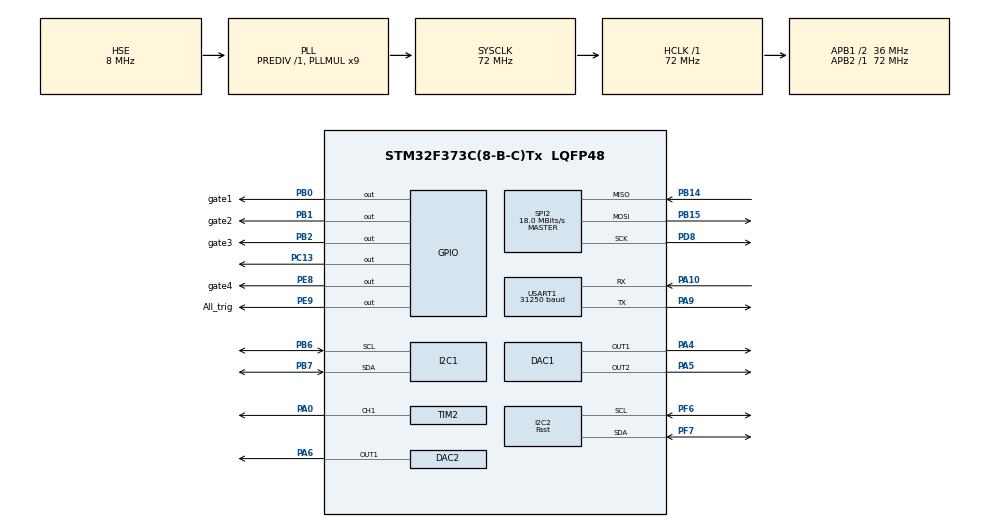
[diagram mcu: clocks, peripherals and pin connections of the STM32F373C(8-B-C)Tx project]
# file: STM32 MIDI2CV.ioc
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Dma.I2C1_TX.0.Direction=DMA_MEMORY_TO_PERIPH
Dma.I2C1_TX.0.Instance=DMA1_Channel6
Dma.I2C1_TX.0.MemDataAlignment=DMA_MDATAALIGN_BYTE
Dma.I2C1_TX.0.MemInc=DMA_MINC_ENABLE
Dma.I2C1_TX.0.Mode=DMA_NORMAL
Dma.I2C1_TX.0.PeriphDataAlignment=DMA_PDATAALIGN_BYTE
Dma.I2C1_TX.0.PeriphInc=DMA_PINC_DISABLE
Dma.I2C1_TX.0.Priority=DMA_PRIORITY_MEDIUM
Dma.Request0=I2C1_TX
I2C1.Timing=0x00201D2B
I2C2.I2C_Speed_Mode=I2C_Fast
I2C2.Timing=0x0010020A
Mcu.Family=STM32F3
Mcu.Name=STM32F373C(8-B-C)Tx
Mcu.Package=LQFP48
Mcu.UserConstants=periodas,0;daliklis,0;pulsas,0
NVIC.DMA1_Channel6_IRQn=true\:0\:0\:false\:false\:true\:false\:true\:true
NVIC.I2C1_EV_IRQn=true\:0\:0\:false\:false\:true\:true\:true\:true
NVIC.PriorityGroup=NVIC_PRIORITYGROUP_4
NVIC.SPI2_IRQn=true\:0\:0\:false\:false\:true\:true\:true\:true
NVIC.TIM13_IRQn=true\:0\:0\:false\:false\:true\:true\:true\:true
NVIC.TIM14_IRQn=true\:0\:0\:false\:false\:true\:true\:true\:true
NVIC.TIM7_IRQn=true\:0\:0\:false\:false\:true\:true\:true\:true
NVIC.USART1_IRQn=true\:0\:0\:false\:false\:true\:true\:true\:true
PA0.GPIO_PuPd=GPIO_PULLDOWN
PA0.Signal=S_TIM2_CH1_ETR
PA10.Mode=Asynchronous
PA10.Signal=USART1_RX
PA13.Mode=Trace_Asynchronous_SW
PA13.Signal=SYS_JTMS-SWDIO
PA14.Mode=Trace_Asynchronous_SW
PA14.Signal=SYS_JTCK-SWCLK
PA4.Signal=COMP_DAC11_group
PA5.Signal=COMP_DAC12_group
PA6.Signal=COMP_DAC21_group
PA9.Mode=Asynchronous
PA9.Signal=USART1_TX
PB0.GPIO_Label=gate1
PB0.PinState=GPIO_PIN_RESET
PB0.Signal=GPIO_Output
PB1.GPIO_Label=gate2
PB1.Signal=GPIO_Output
PB14.Mode=Full_Duplex_Master
PB14.Signal=SPI2_MISO
PB15.Mode=Full_Duplex_Master
PB15.Signal=SPI2_MOSI
PB2.GPIO_Label=gate3
PB2.Signal=GPIO_Output
PB3.Mode=Trace_Asynchronous_SW
PB3.Signal=SYS_JTDO-TRACESWO
PB6.Mode=I2C
PB6.Signal=I2C1_SCL
PB7.Mode=I2C
PB7.Signal=I2C1_SDA
PC13.PinState=GPIO_PIN_RESET
PC13.Signal=GPIO_Output
PD8.Mode=Full_Duplex_Master
PD8.Signal=SPI2_SCK
PE8.GPIO_Label=gate4
PE8.Signal=GPIO_Output
PE9.GPIO_Label=All_trig
PE9.Signal=GPIO_Output
PF0-OSC_IN.Mode=HSE-External-Oscillator
PF0-OSC_IN.Signal=RCC_OSC_IN
PF1-OSC_OUT.Mode=HSE-External-Oscillator
PF1-OSC_OUT.Signal=RCC_OSC_OUT
PF6.Mode=I2C
PF6.Signal=I2C2_SCL
PF7.Mode=I2C
PF7.Signal=I2C2_SDA
ProjectManager.HeapSize=0x200
ProjectManager.StackSize=0x400
ProjectManager.TargetToolchain=STM32CubeIDE
RCC.AHBFreq_Value=72000000
RCC.APB1CLKDivider=RCC_HCLK_DIV2
RCC.APB1Freq_Value=36000000
RCC.APB1TimFreq_Value=72000000
RCC.APB2Freq_Value=72000000
RCC.APB2TimFreq_Value=72000000
RCC.CortexFreq_Value=72000000
RCC.HCLKFreq_Value=72000000
RCC.HSE_VALUE=8000000
RCC.HSI_VALUE=8000000
RCC.LSE_VALUE=32768
RCC.PLLMUL=RCC_PLL_MUL9
RCC.PLLSourceVirtual=RCC_PLLSOURCE_HSE
RCC.SYSCLKFreq_VALUE=72000000
RCC.SYSCLKSource=RCC_SYSCLKSOURCE_PLLCLK
RCC.USBFreq_Value=72000000
RCC.Usart1ClockSelection=RCC_USART1CLKSOURCE_SYSCLK
SH.COMP_DAC11_group.0=DAC1_OUT1,DAC_OUT1
SH.COMP_DAC12_group.0=DAC1_OUT2,Enable_DAC_OUT2
SH.COMP_DAC21_group.0=DAC2_OUT1,DAC_OUT1
SH.S_TIM2_CH1_ETR.0=TIM2_CH1,PWM Generation1 CH1
SPI2.CLKPolarity=SPI_POLARITY_HIGH
SPI2.CalculateBaudRate=18.0 MBits/s
SPI2.DataSize=SPI_DATASIZE_16BIT
SPI2.Direction=SPI_DIRECTION_2LINES
SPI2.Mode=SPI_MODE_MASTER
SPI2.VirtualType=VM_MASTER
TIM13.Period=0
TIM13.Prescaler=0
TIM14.Period=0
TIM2.Channel-PWM\ Generation1\ CH1=TIM_CHANNEL_1
TIM2.Period=0
TIM2.Prescaler=0
TIM2.Pulse-PWM\ Generation1\ CH1=0
TIM7.Period=1
TIM7.Prescaler=7199
USART1.BaudRate=31250
USART1.Mode=MODE_RX
USART1.VirtualMode-Asynchronous=VM_ASYNC
VP_TIM13_VS_ClockSourceINT.Mode=Enable_Timer
VP_TIM14_VS_ClockSourceINT.Mode=Enable_Timer
VP_TIM7_VS_ClockSourceINT.Mode=Enable_Timer
board=custom

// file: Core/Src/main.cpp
/* USER CODE BEGIN Header */
/**
TIM7 - kontroliuoja ADSR
TIM7 -
**/
/* USER CODE END Header */
#include "main.h"

/* USER CODE BEGIN Includes */
#include <stdio.h>
#include <math.h>
#include "MIDI.h"
#include "MidiHandlers.h"
#include "mcp4728_mod.h"
#include "ssd1306.h"
#include "ssd1306_fonts.h"
#include <adsr.h>
#include "lookup_t.h"
#include "midi2freq.h"
#include "lfo.h"
/* USER CODE END Includes */

/* USER CODE BEGIN PTD */

#define X 0.25 // santykis
#define NUM_ENVELOPES 4

// Define the MIDI CC numbers for the ADSR parameters
#define ATTACK_CC 74     // Brightness or Attack CC number
#define DECAY_CC 71      // Resonance or Decay CC number
#define SUSTAIN_CC 22    // Decay Time or Sustain level CC number
#define RELEASE_CC 75    // Release Time CC number
#define AMPLITUDE_CC 12   // Volume or Amplitude CC number
#define MAX_MIDI_CHANNELS 2
//#define DMA_RX_BUFFER_SIZE 256

//#define SystemCoreClock 72000000

/* USER CODE END PTD */

DAC_HandleTypeDef hdac1;
DAC_HandleTypeDef hdac2;

I2C_HandleTypeDef hi2c1;
I2C_HandleTypeDef hi2c2;
DMA_HandleTypeDef hdma_i2c1_tx;

SPI_HandleTypeDef hspi2;

TIM_HandleTypeDef htim2;
TIM_HandleTypeDef htim7;
TIM_HandleTypeDef htim13;
TIM_HandleTypeDef htim14;

UART_HandleTypeDef huart1;

/* USER CODE BEGIN PV */

//uint8_t dma_rx_buffer[DMA_RX_BUFFER_SIZE];
//uint8_t dma_rx_data[DMA_RX_BUFFER_SIZE];
//volatile uint16_t dma_rx_index = 0;
// volatile bool update_adsr_flag = false;

/* Midi kintamieji */
/* 4 balsai */
bool first_note_active = false;
bool second_note_active = false;
bool third_note_active = false;
bool fourth_note_active = false;
uint32_t pitch1_CV;
uint32_t pitch2_CV;
uint32_t pitch3_CV;
uint32_t pitch4_CV;
uint8_t first_note;
uint8_t second_note;
uint8_t third_note;
uint8_t fourth_note;
/*  */

uint32_t ramp_counter = 0;
uint32_t count = 0;
uint16_t minFrequency = 100;   // Minimum frequency in Hz
uint16_t maxFrequency = 1000;  // Maximum frequency in Hz
uint32_t new_period = 0;
uint32_t dac_value;

extern ADSR_t adsr;
float env1;
ADSR_t envelopes[NUM_ENVELOPES]; // Array to hold the ADSR envelopes

// midi natos pagal kanalus kintamieji
bool note_active[MAX_MIDI_CHANNELS] = {false};
uint32_t pitch_CV[MAX_MIDI_CHANNELS];
uint32_t velo_CV[MAX_MIDI_CHANNELS];
uint8_t current_note[MAX_MIDI_CHANNELS];

/* USER CODE END PV */

void SystemClock_Config(void);
static void MX_GPIO_Init(void);
static void MX_DMA_Init(void);
static void MX_USART1_UART_Init(void);
static void MX_DAC1_Init(void);
static void MX_DAC2_Init(void);
static void MX_SPI2_Init(void);
static void MX_I2C1_Init(void);
static void MX_I2C2_Init(void);
static void MX_TIM7_Init(void);
static void MX_TIM13_Init(void);
static void MX_TIM2_Init(void);
static void MX_TIM14_Init(void);

/* USER CODE BEGIN 0 */
int _write(int file, char *ptr, int len)
 {
	 int DataIdx;
	 for (DataIdx = 0; DataIdx < len; DataIdx++)
	 {
		 ITM_SendChar(*ptr++);
	 }
	 return len;
 }

//typedef struct {
//    byte attack_value;
//    byte decay_value;
//    byte sustain_value;
//    byte release_value;
//    byte amplitude_value;
//} ADSR_CC_Values;

// Array to store the last known MIDI CC values for each envelope
//ADSR_CC_Values cc_values[NUM_ENVELOPES];

/* Initialize MidiInterface object */
MidiInterface Port;

void Handle_NoteOn(uint8_t status, uint8_t data1, uint8_t data2);
void Handle_NoteOff(uint8_t channel, uint8_t note, uint8_t velocity);
void Handle_CC(byte channel, byte number, byte value);
void Handle_CC16(byte channel, byte number, byte value);
void ADSR_HandleCC(byte channel, byte number, byte value);

// Add new variables for third and fourth notes

void Handle_NoteOn(uint8_t channel, uint8_t note, uint8_t velocity) {
    uint32_t pitch_CV = (uint32_t)((note * 0.0833333333 * X) / (3.3 / 4095));  // Calculate pitch CV from MIDI note
    uint32_t velo_CV = (uint32_t)((velocity / 127.0) * 4095);
    ChannelConfig config;
    ChannelConfig_2 config2;

    if (!first_note_active) {
        pitch1_CV = pitch_CV;

        ADSR_SetGateSignal(&envelopes[0], 1);
        config.val[0] = pitch1_CV; // 12-bit DAC value for channel A
        config2.val[0] = velo_CV;  // 12-bit DAC value for channel B
        DACx60SW(&hi2c1, config, 0);
        DACx61SW(&hi2c1, config2, 0);

        HAL_GPIO_WritePin(GPIOB, gate1_Pin, GPIO_PIN_SET);  // Indicate first note is on via gate3_Pin
        first_note_active = true;  // First note is now active
        first_note = note;  // Store the note value
    } else if (!second_note_active) {
        pitch2_CV = pitch_CV;

        ADSR_SetGateSignal(&envelopes[1], 1);
        config.val[1] = pitch2_CV; // 12-bit DAC value for channel A
        config2.val[1] = velo_CV;  // 12-bit DAC value for channel B
        DACx60SW(&hi2c1, config, 1);
        DACx61SW(&hi2c1, config2, 1);

        HAL_GPIO_WritePin(GPIOB, gate2_Pin, GPIO_PIN_SET);  // Indicate second note is on via gate2_Pin
        second_note_active = true;  // Second note is now active
        second_note = note;  // Store the note value
    } else if (!third_note_active) {
        pitch3_CV = pitch_CV;

        ADSR_SetGateSignal(&envelopes[2], 1);
        config.val[2] = pitch3_CV; // 12-bit DAC value for channel A
        config2.val[2] = velo_CV;  // 12-bit DAC value for channel B
        DACx60SW(&hi2c1, config, 2);
        DACx61SW(&hi2c1, config2, 2);

        HAL_GPIO_WritePin(GPIOB, gate3_Pin, GPIO_PIN_SET);  // Indicate third note is on via gate1_Pin
        third_note_active = true;  // Third note is now active
        third_note = note;  // Store the note value
    } else if (!fourth_note_active) {
        pitch4_CV = pitch_CV;

        ADSR_SetGateSignal(&envelopes[3], 1);
        config.val[3] = pitch4_CV; // 12-bit DAC value for channel A
        config2.val[3] = velo_CV;  // 12-bit DAC value for channel B
        DACx60SW(&hi2c1, config, 3);
        DACx61SW(&hi2c1, config2, 3);

        HAL_GPIO_WritePin(GPIOE, gate4_Pin, GPIO_PIN_SET);  // Indicate fourth note is on via gate4_Pin
        fourth_note_active = true;  // Fourth note is now active
        fourth_note = note;  // Store the note value
    }
}

void Handle_NoteOff(uint8_t channel, uint8_t note, uint8_t velocity) {
    if (first_note_active && note == first_note) {
        ADSR_SetGateSignal(&envelopes[0], 0);

        HAL_GPIO_WritePin(GPIOB, gate1_Pin, GPIO_PIN_RESET);  // PB2 Turn off gate for first note
        first_note_active = false;  // First note is no longer active
    } else if (second_note_active && note == second_note) {
        ADSR_SetGateSignal(&envelopes[1], 0);
        HAL_GPIO_WritePin(GPIOB, gate2_Pin, GPIO_PIN_RESET);  // Turn off gate for second note
        second_note_active = false;  // Second note is no longer active
    } else if (third_note_active && note == third_note) {
        ADSR_SetGateSignal(&envelopes[2], 0);
        HAL_GPIO_WritePin(GPIOB, gate3_Pin, GPIO_PIN_RESET);  // Turn off gate for third note
        third_note_active = false;  // Third note is no longer active
    } else if (fourth_note_active && note == fourth_note) {
        ADSR_SetGateSignal(&envelopes[3], 0);
        HAL_GPIO_WritePin(GPIOE, gate4_Pin, GPIO_PIN_RESET);  // Turn off gate for fourth note
        fourth_note_active = false;  // Fourth note is no longer active
    }
}

//void setupPWM(uint32_t frequency) {
//    uint32_t period = (SystemCoreClock / frequency) - 1;
//
//    // Update the timer period
//    __HAL_TIM_SET_AUTORELOAD(&htim2, period);
//    __HAL_TIM_SET_COMPARE(&htim2, TIM_CHANNEL_1, period / 2); // 50% duty cycle
//    __HAL_TIM_SET_COUNTER(&htim2, 0); // Reset counter
//
//    // Start PWM if not already started
//    if (HAL_TIM_PWM_Start(&htim2, TIM_CHANNEL_1) != HAL_OK) {
//        // PWM start error handling
//    }
//}
// Convert envelope value (0.0 - 1.0) to DAC value (0 - 4095)
uint32_t envelope_to_dac_value(float envelope_value) {
    return (uint32_t)(envelope_value * 4095.0f);
}
    // Additional configuration code
//void TIM8_UP_TIM13_IRQHandler(void)
//{
//  HAL_TIM_IRQHandler(&htim13);
//}
//void Update_TIM13_Frequency(uint8_t midi_value) {
//	uint32_t frequency = lfo_lookup[midi_value];
//	new_period = (72000000 / frequency) - 1; // Example calculation
//    __HAL_TIM_SET_AUTORELOAD(&htim13, new_period);
////    __HAL_TIM_SET_COMPARE(&htim13, new_period / 2); // 50% duty cycle
////    __HAL_TIM_SET_COUNTER(&htim13, 0); // Reset counter
//    if (HAL_TIM_PWM_Start(&htim13, TIM_CHANNEL_1) != HAL_OK) {
//        // PWM start error handling
//    }
//}

//void HandleCC(byte channel, byte number, byte value) {
//    if (number == 13) {
//    			uint32_t modv_CV = (uint32_t)((value / 127.0) * 4095);
//    			HAL_DAC_SetValue(&hdac1, DAC_CHANNEL_1, DAC_ALIGN_12B_R, modv_CV);
////        midi_cc40_value = value;
//        Update_TIM13_Frequency(value);
//    }
//    // Handle other CC messages
//}

//void ADSR_HandleCC(byte channel, byte number, byte value) {
////    if (channel < NUM_ENVELOPES && update_adsr_flag) {
//
//	int envelope_index = channel - 1;
////    	if (channel < NUM_ENVELOPES) {
//    	    if (envelope_index >= 0 && envelope_index < NUM_ENVELOPES) {
//    	        ADSR_t *adsr = &envelopes[envelope_index];  // Get the corresponding ADSR envelope
//
//
//        switch (number) {
//        case ATTACK_CC: // Brightness controls Attack
////        	oled("attack");
////        	cc_values[envelope_index].attack_value = value;
////            adsr->attack_rate = attack_rate_lookup[value];
//            adsr->attack_rate = attack_rate_lookup[64];
//
////            oled2("A: %d", value);
//            break;
//
//        case DECAY_CC: // Resonance controls Decay
////        	cc_values[envelope_index].decay_value = value;
////            adsr->decay_rate = attack_rate_lookup[value];   // Scale 0-127 to 0.001 - 0.01
//        	adsr->decay_rate = attack_rate_lookup[64];
//            break;
//
//        case RELEASE_CC: // Release Time controls Release
////        	cc_values[envelope_index].release_value = value;
////            adsr->release_rate = attack_rate_lookup[value]; // Scale 0-127 to 0.001 - 0.01
//        	adsr->release_rate = attack_rate_lookup[64];
//            break;
//
//        case SUSTAIN_CC: // Decay Time controls Sustain
////        	cc_values[envelope_index].sustain_value = value;
////            adsr->sustain_level = value / 127.0f;          // 2ia manau nereik float, pakaks ma=esnies reik6mies
//        	adsr->sustain_level = 64;
//            break;
//
//        case AMPLITUDE_CC:
////            cc_values[envelope_index].amplitude_value = value;  // Store amplitude value
////            adsr->amplitude = value / 127.0f;  // Scale amplitude from 0-127 to 0.0-1.0
//        	adsr->amplitude = 127;
//            break;
//
////        case 13:  // Handle MIDI CC13 for DAC output
////  //      	    			uint32_t modv_CV = (uint32_t)((value / 127.0) * 4095);
////        	HAL_DAC_SetValue(&hdac1, DAC_CHANNEL_1, DAC_ALIGN_12B_R, (uint32_t)((value / 127.0) * 4095));
//// //           Update_TIM13_Frequency(value);
////            break;
//
//
//        default:
//            // Handle other CC messages or ignore
//
//            break;
//    }
////        update_adsr_flag = false;
//    }
//
//}
void HAL_TIM_PeriodElapsedCallback(TIM_HandleTypeDef *htim) {

//    if (htim->Instance == TIM13) {
//        update_adsr_flag = true;  // Set the flag to update ADSR parameters
// //       oled("ADSR Flag = TRUE");
//    }

    if (htim->Instance == TIM7) {
/*  ADSR kreivių formavimas naudojant laikmatį.  */
        // Update the first envelope
        ADSR_UpdateEnvelope(&envelopes[0]);
        uint32_t dac_value1 = envelope_to_dac_value(ADSR_GetEnvelopeValue(&envelopes[0]));
        HAL_DAC_SetValue(&hdac2, DAC_CHANNEL_1, DAC_ALIGN_12B_R, dac_value1);
        // Update the second envelope
        ADSR_UpdateEnvelope(&envelopes[1]);
        uint32_t dac_value2 = envelope_to_dac_value(ADSR_GetEnvelopeValue(&envelopes[1]));
        HAL_DAC_SetValue(&hdac1, DAC_CHANNEL_2, DAC_ALIGN_12B_R, dac_value2);
        //
        ADSR_UpdateEnvelope(&envelopes[2]);
        uint32_t dac_value3 = envelope_to_dac_value(ADSR_GetEnvelopeValue(&envelopes[2]));
        //
        ADSR_UpdateEnvelope(&envelopes[3]);
        uint32_t dac_value4 = envelope_to_dac_value(ADSR_GetEnvelopeValue(&envelopes[3]));
    }

//    if (htim->Instance == TIM13) {
//        ramp_counter++;
//        if (ramp_counter > 4095) {
//            ramp_counter = 0;
//        }
//        HAL_DAC_SetValue(&hdac2, DAC_CHANNEL_1, DAC_ALIGN_12B_R, ramp_counter);
//    }
}

/* USER CODE END 0 */

int main(void)
{

  /* USER CODE BEGIN 1 */
	char tekstas[] = "LOST MY SHIT";
  /* USER CODE END 1 */

  /* MCU Configuration--------------------------------------------------------*/

  /* Reset of all peripherals, Initializes the Flash interface and the Systick. */
  HAL_Init();

  /* Configure the system clock */
  SystemClock_Config();

  /* Initialize all configured peripherals */
  MX_GPIO_Init();
  MX_DMA_Init();
  MX_USART1_UART_Init();
  MX_DAC1_Init();
  MX_DAC2_Init();
  MX_SPI2_Init();
  MX_I2C1_Init();
  MX_I2C2_Init();
  MX_TIM7_Init();
  MX_TIM13_Init();
  MX_TIM2_Init();
  MX_TIM14_Init();
  /* USER CODE BEGIN 2 */
	Port.begin(1, &huart1, &huart1);

	Port.setHandleClock(Handle_Clock);
	Port.setHandleStart(Handle_Start);
	Port.setHandleStop(Handle_Stop);
	Port.setHandleNoteOn(Handle_NoteOn);
	Port.setHandleNoteOff(Handle_NoteOff);
//	Port.setHandleControlChange(Handle_CC);
//	Port.setHandleControlChange(Handle_CC16);
//	Port.setHandleControlChange(ADSR_HandleCC);

//	 printf("Great Succes!\n\r");

	HAL_DAC_Start(&hdac1, DAC_CHANNEL_1);
    HAL_DAC_Start(&hdac1, DAC_CHANNEL_2);
    HAL_DAC_Start(&hdac2, DAC_CHANNEL_1);
    HAL_SPI_Init(&hspi2);

    ChannelConfig config;
    ChannelConfig_2 config2;
    dac_init(&config, &config2);

    ssd1306_Init();
    ssd1306_SetCursor(5, 50);
    ssd1306_WriteString(tekstas, Font_7x10, White);
    ssd1306_UpdateScreen();

    HAL_TIM_Base_Start_IT(&htim7);
    //HAL_TIM_Base_Start_IT(&htim13);
    //HAL_TIM_Base_Start(&htim2);
    //HAL_TIM_Base_Start(&htim14);
    ADSR_Init(envelopes, NUM_ENVELOPES);

    // Initialize each ADSR envelope and set the default MIDI values
//    for (int i = 0; i < NUM_ENVELOPES; i++) {
//        ADSR_Init(&envelopes[i]);
//
//        // Initialize CC values to some default values (you can use defaults or assume MIDI will update)
//        cc_values[i].attack_value = 64;  // Default to a middle value for attack, you can choose another default
//        cc_values[i].decay_value = 64;
//        cc_values[i].sustain_value = 64;
//        cc_values[i].release_value = 64;
//        cc_values[i].amplitude_value = 127;  // Max volume by default
//
//        // Apply the stored MIDI values to initialize ADSR settings
//        ADSR_HandleCC(i, ATTACK_CC, cc_values[i].attack_value);
//        ADSR_HandleCC(i, DECAY_CC, cc_values[i].decay_value);
//        ADSR_HandleCC(i, SUSTAIN_CC, cc_values[i].sustain_value);
//        ADSR_HandleCC(i, RELEASE_CC, cc_values[i].release_value);
//        ADSR_HandleCC(i, AMPLITUDE_CC, cc_values[i].amplitude_value);
//    }
//    // Temporarily set specific parameters for the second envelope for testing
//    cc_values[1].attack_value = 80;  // Example value for attack
//    cc_values[1].decay_value = 50;   // Example value for decay
//    cc_values[1].sustain_value = 90; // Example value for sustain
//    cc_values[1].release_value = 70; // Example value for release
//    cc_values[1].amplitude_value = 127; // Max volume
//
//    // Apply the specific parameters to the second envelope
//    ADSR_HandleCC(1, ATTACK_CC, cc_values[1].attack_value);
//    ADSR_HandleCC(1, DECAY_CC, cc_values[1].decay_value);
//    ADSR_HandleCC(1, SUSTAIN_CC, cc_values[1].sustain_value);
//    ADSR_HandleCC(1, RELEASE_CC, cc_values[1].release_value);
//    ADSR_HandleCC(1, AMPLITUDE_CC, cc_values[1].amplitude_value);

  /* USER CODE END 2 */

  /* Infinite loop */
  while (1)
  {

    /* USER CODE BEGIN 3 */
		Port.read();
//        ADSR_SetGateSignal(&envelopes[0], 1);  // Gate signal ON for envelope 0
//        ADSR_SetGateSignal(&envelopes[1], 0);  // Gate signal ON for envelope 1
//        HAL_Delay(500);  // Keep gate signals ON for 500 ms
//
//        // Simulate gate signal OFF for both envelopes
//        ADSR_SetGateSignal(&envelopes[0], 0);  // Gate signal OFF for envelope 0
//        ADSR_SetGateSignal(&envelopes[1], 1);  // Gate signal OFF for envelope 1
//        HAL_Delay(1000);  // Wait for 1 second before repeating

  }
  /* USER CODE END 3 */
}

void SystemClock_Config(void)
{
  RCC_OscInitTypeDef RCC_OscInitStruct = {0};
  RCC_ClkInitTypeDef RCC_ClkInitStruct = {0};
  RCC_PeriphCLKInitTypeDef PeriphClkInit = {0};

  /** Initializes the RCC Oscillators according to the specified parameters
  * in the RCC_OscInitTypeDef structure.
  */
  RCC_OscInitStruct.OscillatorType = RCC_OSCILLATORTYPE_HSI|RCC_OSCILLATORTYPE_HSE;
  RCC_OscInitStruct.HSEState = RCC_HSE_ON;
  RCC_OscInitStruct.HSEPredivValue = RCC_HSE_PREDIV_DIV1;
  RCC_OscInitStruct.HSIState = RCC_HSI_ON;
  RCC_OscInitStruct.HSICalibrationValue = RCC_HSICALIBRATION_DEFAULT;
  RCC_OscInitStruct.PLL.PLLState = RCC_PLL_ON;
  RCC_OscInitStruct.PLL.PLLSource = RCC_PLLSOURCE_HSE;
  RCC_OscInitStruct.PLL.PLLMUL = RCC_PLL_MUL9;
  if (HAL_RCC_OscConfig(&RCC_OscInitStruct) != HAL_OK)
  {
    Error_Handler();
  }

  /** Initializes the CPU, AHB and APB buses clocks
  */
  RCC_ClkInitStruct.ClockType = RCC_CLOCKTYPE_HCLK|RCC_CLOCKTYPE_SYSCLK
                              |RCC_CLOCKTYPE_PCLK1|RCC_CLOCKTYPE_PCLK2;
  RCC_ClkInitStruct.SYSCLKSource = RCC_SYSCLKSOURCE_PLLCLK;
  RCC_ClkInitStruct.AHBCLKDivider = RCC_SYSCLK_DIV1;
  RCC_ClkInitStruct.APB1CLKDivider = RCC_HCLK_DIV2;
  RCC_ClkInitStruct.APB2CLKDivider = RCC_HCLK_DIV1;

  if (HAL_RCC_ClockConfig(&RCC_ClkInitStruct, FLASH_LATENCY_2) != HAL_OK)
  {
    Error_Handler();
  }
  PeriphClkInit.PeriphClockSelection = RCC_PERIPHCLK_USART1|RCC_PERIPHCLK_I2C1
                              |RCC_PERIPHCLK_I2C2;
  PeriphClkInit.Usart1ClockSelection = RCC_USART1CLKSOURCE_SYSCLK;
  PeriphClkInit.I2c1ClockSelection = RCC_I2C1CLKSOURCE_HSI;
  PeriphClkInit.I2c2ClockSelection = RCC_I2C2CLKSOURCE_HSI;
  if (HAL_RCCEx_PeriphCLKConfig(&PeriphClkInit) != HAL_OK)
  {
    Error_Handler();
  }
}

static void MX_DAC1_Init(void)
{

  DAC_ChannelConfTypeDef sConfig = {0};

  /** DAC Initialization
  */
  hdac1.Instance = DAC1;
  if (HAL_DAC_Init(&hdac1) != HAL_OK)
  {
    Error_Handler();
  }

  /** DAC channel OUT1 config
  */
  sConfig.DAC_Trigger = DAC_TRIGGER_NONE;
  sConfig.DAC_OutputBuffer = DAC_OUTPUTBUFFER_ENABLE;
  if (HAL_DAC_ConfigChannel(&hdac1, &sConfig, DAC_CHANNEL_1) != HAL_OK)
  {
    Error_Handler();
  }

  /** DAC channel OUT2 config
  */
  if (HAL_DAC_ConfigChannel(&hdac1, &sConfig, DAC_CHANNEL_2) != HAL_OK)
  {
    Error_Handler();
  }

}

static void MX_DAC2_Init(void)
{

  DAC_ChannelConfTypeDef sConfig = {0};

  /** DAC Initialization
  */
  hdac2.Instance = DAC2;
  if (HAL_DAC_Init(&hdac2) != HAL_OK)
  {
    Error_Handler();
  }

  /** DAC channel OUT1 config
  */
  sConfig.DAC_Trigger = DAC_TRIGGER_NONE;
  sConfig.DAC_OutputBuffer = DAC_OUTPUTBUFFER_ENABLE;
  if (HAL_DAC_ConfigChannel(&hdac2, &sConfig, DAC_CHANNEL_1) != HAL_OK)
  {
    Error_Handler();
  }

}

static void MX_I2C1_Init(void)
{

  hi2c1.Instance = I2C1;
  hi2c1.Init.Timing = 0x00201D2B;
  hi2c1.Init.OwnAddress1 = 0;
  hi2c1.Init.AddressingMode = I2C_ADDRESSINGMODE_7BIT;
  hi2c1.Init.DualAddressMode = I2C_DUALADDRESS_DISABLE;
  hi2c1.Init.OwnAddress2 = 0;
  hi2c1.Init.OwnAddress2Masks = I2C_OA2_NOMASK;
  hi2c1.Init.GeneralCallMode = I2C_GENERALCALL_DISABLE;
  hi2c1.Init.NoStretchMode = I2C_NOSTRETCH_DISABLE;
  if (HAL_I2C_Init(&hi2c1) != HAL_OK)
  {
    Error_Handler();
  }

  /** Configure Analogue filter
  */
  if (HAL_I2CEx_ConfigAnalogFilter(&hi2c1, I2C_ANALOGFILTER_ENABLE) != HAL_OK)
  {
    Error_Handler();
  }

  /** Configure Digital filter
  */
  if (HAL_I2CEx_ConfigDigitalFilter(&hi2c1, 0) != HAL_OK)
  {
    Error_Handler();
  }

}

static void MX_I2C2_Init(void)
{

  hi2c2.Instance = I2C2;
  hi2c2.Init.Timing = 0x0010020A;
  hi2c2.Init.OwnAddress1 = 0;
  hi2c2.Init.AddressingMode = I2C_ADDRESSINGMODE_7BIT;
  hi2c2.Init.DualAddressMode = I2C_DUALADDRESS_DISABLE;
  hi2c2.Init.OwnAddress2 = 0;
  hi2c2.Init.OwnAddress2Masks = I2C_OA2_NOMASK;
  hi2c2.Init.GeneralCallMode = I2C_GENERALCALL_DISABLE;
  hi2c2.Init.NoStretchMode = I2C_NOSTRETCH_DISABLE;
  if (HAL_I2C_Init(&hi2c2) != HAL_OK)
  {
    Error_Handler();
  }

  /** Configure Analogue filter
  */
  if (HAL_I2CEx_ConfigAnalogFilter(&hi2c2, I2C_ANALOGFILTER_ENABLE) != HAL_OK)
  {
    Error_Handler();
  }

  /** Configure Digital filter
  */
  if (HAL_I2CEx_ConfigDigitalFilter(&hi2c2, 0) != HAL_OK)
  {
    Error_Handler();
  }

}

static void MX_SPI2_Init(void)
{

  /* SPI2 parameter configuration*/
  hspi2.Instance = SPI2;
  hspi2.Init.Mode = SPI_MODE_MASTER;
  hspi2.Init.Direction = SPI_DIRECTION_2LINES;
  hspi2.Init.DataSize = SPI_DATASIZE_16BIT;
  hspi2.Init.CLKPolarity = SPI_POLARITY_HIGH;
  hspi2.Init.CLKPhase = SPI_PHASE_1EDGE;
  hspi2.Init.NSS = SPI_NSS_SOFT;
  hspi2.Init.BaudRatePrescaler = SPI_BAUDRATEPRESCALER_2;
  hspi2.Init.FirstBit = SPI_FIRSTBIT_MSB;
  hspi2.Init.TIMode = SPI_TIMODE_DISABLE;
  hspi2.Init.CRCCalculation = SPI_CRCCALCULATION_DISABLE;
  hspi2.Init.CRCPolynomial = 7;
  hspi2.Init.CRCLength = SPI_CRC_LENGTH_DATASIZE;
  hspi2.Init.NSSPMode = SPI_NSS_PULSE_ENABLE;
  if (HAL_SPI_Init(&hspi2) != HAL_OK)
  {
    Error_Handler();
  }

}

static void MX_TIM2_Init(void)
{

  TIM_MasterConfigTypeDef sMasterConfig = {0};
  TIM_OC_InitTypeDef sConfigOC = {0};

  htim2.Instance = TIM2;
  htim2.Init.Prescaler = 0;
  htim2.Init.CounterMode = TIM_COUNTERMODE_UP;
  htim2.Init.Period = 0;
  htim2.Init.ClockDivision = TIM_CLOCKDIVISION_DIV1;
  htim2.Init.AutoReloadPreload = TIM_AUTORELOAD_PRELOAD_DISABLE;
  if (HAL_TIM_PWM_Init(&htim2) != HAL_OK)
  {
    Error_Handler();
  }
  sMasterConfig.MasterOutputTrigger = TIM_TRGO_RESET;
  sMasterConfig.MasterSlaveMode = TIM_MASTERSLAVEMODE_DISABLE;
  if (HAL_TIMEx_MasterConfigSynchronization(&htim2, &sMasterConfig) != HAL_OK)
  {
    Error_Handler();
  }
  sConfigOC.OCMode = TIM_OCMODE_PWM1;
  sConfigOC.Pulse = 0;
  sConfigOC.OCPolarity = TIM_OCPOLARITY_HIGH;
  sConfigOC.OCFastMode = TIM_OCFAST_DISABLE;
  if (HAL_TIM_PWM_ConfigChannel(&htim2, &sConfigOC, TIM_CHANNEL_1) != HAL_OK)
  {
    Error_Handler();
  }
  HAL_TIM_MspPostInit(&htim2);

}

static void MX_TIM7_Init(void)
{

  TIM_MasterConfigTypeDef sMasterConfig = {0};

  htim7.Instance = TIM7;
  htim7.Init.Prescaler = 7199;
  htim7.Init.CounterMode = TIM_COUNTERMODE_UP;
  htim7.Init.Period = 1;
  htim7.Init.AutoReloadPreload = TIM_AUTORELOAD_PRELOAD_DISABLE;
  if (HAL_TIM_Base_Init(&htim7) != HAL_OK)
  {
    Error_Handler();
  }
  sMasterConfig.MasterOutputTrigger = TIM_TRGO_RESET;
  sMasterConfig.MasterSlaveMode = TIM_MASTERSLAVEMODE_DISABLE;
  if (HAL_TIMEx_MasterConfigSynchronization(&htim7, &sMasterConfig) != HAL_OK)
  {
    Error_Handler();
  }

}

static void MX_TIM13_Init(void)
{

  htim13.Instance = TIM13;
  htim13.Init.Prescaler = 0;
  htim13.Init.CounterMode = TIM_COUNTERMODE_UP;
  htim13.Init.Period = 0;
  htim13.Init.ClockDivision = TIM_CLOCKDIVISION_DIV1;
  htim13.Init.AutoReloadPreload = TIM_AUTORELOAD_PRELOAD_DISABLE;
  if (HAL_TIM_Base_Init(&htim13) != HAL_OK)
  {
    Error_Handler();
  }

}

static void MX_TIM14_Init(void)
{

  htim14.Instance = TIM14;
  htim14.Init.Prescaler = 0;
  htim14.Init.CounterMode = TIM_COUNTERMODE_UP;
  htim14.Init.Period = 0;
  htim14.Init.ClockDivision = TIM_CLOCKDIVISION_DIV1;
  htim14.Init.AutoReloadPreload = TIM_AUTORELOAD_PRELOAD_DISABLE;
  if (HAL_TIM_Base_Init(&htim14) != HAL_OK)
  {
    Error_Handler();
  }

}

static void MX_USART1_UART_Init(void)
{

  huart1.Instance = USART1;
  huart1.Init.BaudRate = 31250;
  huart1.Init.WordLength = UART_WORDLENGTH_8B;
  huart1.Init.StopBits = UART_STOPBITS_1;
  huart1.Init.Parity = UART_PARITY_NONE;
  huart1.Init.Mode = UART_MODE_RX;
  huart1.Init.HwFlowCtl = UART_HWCONTROL_NONE;
  huart1.Init.OverSampling = UART_OVERSAMPLING_16;
  huart1.Init.OneBitSampling = UART_ONE_BIT_SAMPLE_DISABLE;
  huart1.AdvancedInit.AdvFeatureInit = UART_ADVFEATURE_NO_INIT;
  if (HAL_UART_Init(&huart1) != HAL_OK)
  {
    Error_Handler();
  }

}

static void MX_DMA_Init(void)
{

  /* DMA controller clock enable */
  __HAL_RCC_DMA1_CLK_ENABLE();

  /* DMA interrupt init */
  /* DMA1_Channel6_IRQn interrupt configuration */
  HAL_NVIC_SetPriority(DMA1_Channel6_IRQn, 0, 0);
  HAL_NVIC_EnableIRQ(DMA1_Channel6_IRQn);

}

static void MX_GPIO_Init(void)
{
  GPIO_InitTypeDef GPIO_InitStruct = {0};

  /* GPIO Ports Clock Enable */
  __HAL_RCC_GPIOC_CLK_ENABLE();
  __HAL_RCC_GPIOF_CLK_ENABLE();
  __HAL_RCC_GPIOA_CLK_ENABLE();
  __HAL_RCC_GPIOB_CLK_ENABLE();
  __HAL_RCC_GPIOE_CLK_ENABLE();
  __HAL_RCC_GPIOD_CLK_ENABLE();

  /*Configure GPIO pin Output Level */
  HAL_GPIO_WritePin(GPIOC, GPIO_PIN_13, GPIO_PIN_RESET);

  /*Configure GPIO pin Output Level */
  HAL_GPIO_WritePin(GPIOB, gate1_Pin|gate2_Pin|gate3_Pin, GPIO_PIN_RESET);

  /*Configure GPIO pin Output Level */
  HAL_GPIO_WritePin(GPIOE, gate4_Pin|All_trig_Pin, GPIO_PIN_RESET);

  /*Configure GPIO pin : PC13 */
  GPIO_InitStruct.Pin = GPIO_PIN_13;
  GPIO_InitStruct.Mode = GPIO_MODE_OUTPUT_PP;
  GPIO_InitStruct.Pull = GPIO_NOPULL;
  GPIO_InitStruct.Speed = GPIO_SPEED_FREQ_LOW;
  HAL_GPIO_Init(GPIOC, &GPIO_InitStruct);

  /*Configure GPIO pins : gate1_Pin gate2_Pin gate3_Pin */
  GPIO_InitStruct.Pin = gate1_Pin|gate2_Pin|gate3_Pin;
  GPIO_InitStruct.Mode = GPIO_MODE_OUTPUT_PP;
  GPIO_InitStruct.Pull = GPIO_NOPULL;
  GPIO_InitStruct.Speed = GPIO_SPEED_FREQ_LOW;
  HAL_GPIO_Init(GPIOB, &GPIO_InitStruct);

  /*Configure GPIO pins : gate4_Pin All_trig_Pin */
  GPIO_InitStruct.Pin = gate4_Pin|All_trig_Pin;
  GPIO_InitStruct.Mode = GPIO_MODE_OUTPUT_PP;
  GPIO_InitStruct.Pull = GPIO_NOPULL;
  GPIO_InitStruct.Speed = GPIO_SPEED_FREQ_LOW;
  HAL_GPIO_Init(GPIOE, &GPIO_InitStruct);

}

/* USER CODE BEGIN 4 */
void HAL_UART_RxCpltCallback(UART_HandleTypeDef *huart) {
	__NOP();
}

//void Handle_NoteOn(uint8_t channel, uint8_t note, uint8_t velocity) {
////    if (channel >= MAX_MIDI_CHANNELS) return; // Ignore channels beyond the max limit
//
//    uint32_t new_pitch_CV = (uint32_t)((note * 0.0833333333 * X) / (3.3 / 4095));  // Calculate pitch CV from MIDI note
//    uint32_t new_velo_CV = (uint32_t)((velocity / 127.0) * 4095);
//    ChannelConfig config;
////    ChannelConfig_2 config2;
//
//    if (!note_active[channel] || note < current_note[channel]) {
//        pitch_CV[channel] = new_pitch_CV;
//        velo_CV[channel] = new_velo_CV;
//        current_note[channel] = note;
//
//        // Calculate frequency from MIDI note
////        float frequency = midi2freq[note];
////        setupPWM((uint32_t)frequency);
//
//        ADSR_SetGateSignal(&envelopes[channel-1], 1);
//        ADSR_SetGateSignal(&envelopes[1], 1);
//        config.val[0] = pitch_CV[1];
//        config.val[1] = pitch_CV[2];// 12-bit DAC value for pitch CV
//        DACx60FW(&hi2c1, config);
//
////        config2.val[channel] = velo_CV[channel];  // 12-bit DAC value for velocity CV
////        DACx61FW(&hi2c1, config2);
//
////        HAL_GPIO_WritePin(GPIOB, gate3_Pin, GPIO_PIN_SET);  // Indicate note is on via gate3_Pin
//        note_active[channel] = true;  // Note is now active
//    }
//}
//
//void Handle_NoteOff(uint8_t channel, uint8_t note, uint8_t velocity) {
////    if (channel >= MAX_MIDI_CHANNELS) return; // Ignore channels beyond the max limit
//
//    if (note_active[channel] && note == current_note[channel]) {
//        ADSR_SetGateSignal(&envelopes[channel-1], 0);
//        ADSR_SetGateSignal(&envelopes[1], 0);
//
////        HAL_GPIO_WritePin(GPIOB, gate3_Pin, GPIO_PIN_RESET);  // Turn off gate for note
//        note_active[channel] = false;  // Note is no longer active
//    }
//}
//void Handle_NoteOn(uint8_t channel, uint8_t note, uint8_t velocity) {
//    uint32_t pitch_CV = (uint32_t)((note * 0.0833333333 * X) / (3.3 / 4095));  // Calculate pitch CV from MIDI note
//    uint32_t velo_CV = (uint32_t)((velocity / 127.0) * 4095);
//    ChannelConfig config;
//    ChannelConfig_2 config2;
//
//    if (!first_note_active) {
//        pitch1_CV = pitch_CV;
//
//
//            // Calculate frequency from MIDI note
////        float frequency = midi2freq[note];
////        setupPWM((uint32_t)frequency);
//
//        ADSR_SetGateSignal(&envelopes[0], 1);
//          config.val[0] = pitch1_CV;
//          config2.val[0] = pitch1_CV; // 12-bit DAC value for channel A
//          config.val[1] = velo_CV;  // 12-bit DAC value for channel B
//    	  DACx60FW(&hi2c1, config);
//    	  DACx61FW(&hi2c1, config2);
//
//        HAL_GPIO_WritePin(GPIOB, gate3_Pin, GPIO_PIN_SET);  // Indicate first note is on via gate3_Pin
//        first_note_active = true;  // First note is now active
//        first_note = note;  // Store the note value
//    }
////     If the first note is active and second note is not yet playing, output second note on DAC_CHANNEL_2
//    else if (!second_note_active) {
//    	ADSR_SetGateSignal(&envelopes[1], 1);
////        pitch2_CV = pitch_CV;
////        HAL_DAC_SetValue(&hdac2, DAC_CHANNEL_1, DAC_ALIGN_12B_R, pitch2_CV);
//        HAL_GPIO_WritePin(GPIOB, gate2_Pin, GPIO_PIN_SET);  // Indicate second note is on via gate2_Pin
//        second_note_active = true;  // Second note is now active
//        second_note = note;  // Store the note value
//    }
//	}
//
//void Handle_NoteOff(uint8_t channel, uint8_t note, uint8_t velocity) {
//   // If the first note is off
//
//    if (first_note_active && note == first_note)  {
//    	ADSR_SetGateSignal(&envelopes[0], 0);
//
//        HAL_GPIO_WritePin(GPIOB, gate3_Pin, GPIO_PIN_RESET);  // PB2 Turn off gate for first note
//        first_note_active = false;  // First note is no longer active
//        // Note off, stop PWM
////        HAL_TIM_PWM_Stop(&htim2, TIM_CHANNEL_1);
//    }
////     If the second note is off
//    else if (second_note_active && note == second_note) {
//    	ADSR_SetGateSignal(&envelopes[1], 0);
//        HAL_GPIO_WritePin(GPIOB, gate2_Pin, GPIO_PIN_RESET);  // Turn off gate for second note
//        second_note_active = false;  // Second note is no longer active
//
//    }
//}

//void Handle_CC(byte channel, byte number, byte value) {
//	if (number == 13){
//		setupLFO(value);
//	}
//}

//
//	}
//}
//
//void setHandleControlChange(byte channel, byte number, byte value) {
//	if (number == 16){
//
////		adsr->attack_rate = (value / 127.0f) * 0.01f;
////		uint32_t modv_CV = (uint32_t)((value / 127.0) * 4095);
//		ADSR_SetSustainLevel(&envelopes[0], float(value / 127.0f));
//		env1 = value;
//
//
//	}
//}

//void Handle_CC16(byte channel, byte number, byte value) {
//	if (number == GeneralPurposeController1){					//    CC16
//		uint32_t ATTACK = (uint32_t)((value / 127.0) * 4095);
//		HAL_DAC_SetValue(&hdac1, DAC_CHANNEL_1, DAC_ALIGN_12B_R, ATTACK);
//	}
//}

/* USER CODE END 4 */

void Error_Handler(void)
{
  __disable_irq();
  while (1)
  {
  }
}
